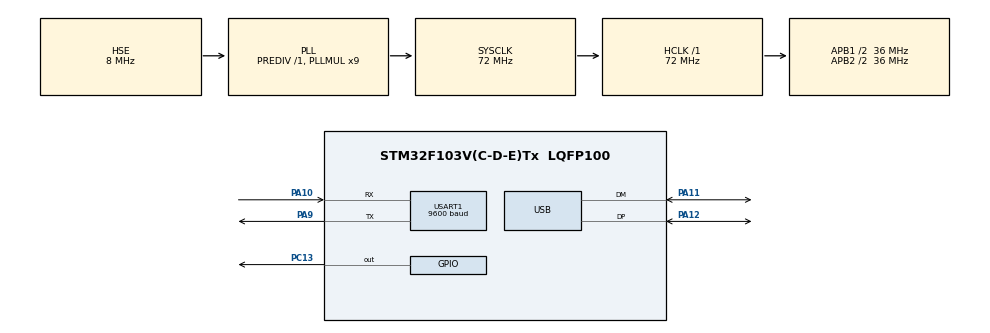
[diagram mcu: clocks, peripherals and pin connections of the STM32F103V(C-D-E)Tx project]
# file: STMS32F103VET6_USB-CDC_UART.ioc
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Mcu.Family=STM32F1
Mcu.Name=STM32F103V(C-D-E)Tx
Mcu.Package=LQFP100
NVIC.PriorityGroup=NVIC_PRIORITYGROUP_4
NVIC.USART1_IRQn=true\:0\:0\:false\:false\:true
NVIC.USB_LP_CAN1_RX0_IRQn=true\:0\:0\:false\:false\:true
OSC_IN.Mode=HSE-External-Oscillator
OSC_IN.Signal=RCC_OSC_IN
OSC_OUT.Mode=HSE-External-Oscillator
OSC_OUT.Signal=RCC_OSC_OUT
PA10.Mode=Asynchronous
PA10.Signal=USART1_RX
PA11.Mode=Device
PA11.Signal=USB_DM
PA12.Mode=Device
PA12.Signal=USB_DP
PA13.Mode=Serial_Wire
PA13.Signal=SYS_JTMS-SWDIO
PA14.Mode=Serial_Wire
PA14.Signal=SYS_JTCK-SWCLK
PA9.Mode=Asynchronous
PA9.Signal=USART1_TX
PC13-TAMPER-RTC.Signal=GPIO_Output
ProjectManager.HeapSize=0x200
ProjectManager.StackSize=0x400
ProjectManager.TargetToolchain=MDK-ARM V5
RCC.AHBFreq_Value=72000000
RCC.APB1CLKDivider=RCC_HCLK_DIV2
RCC.APB1Freq_Value=36000000
RCC.APB1TimFreq_Value=72000000
RCC.APB2CLKDivider=RCC_HCLK_DIV2
RCC.APB2Freq_Value=36000000
RCC.APB2TimFreq_Value=72000000
RCC.HCLKFreq_Value=72000000
RCC.HSIState=RCC_HSI_ON
RCC.PLLMUL=RCC_PLL_MUL9
RCC.RTCClockSelection=RCC_RTCCLKSOURCE_LSE
RCC.SYSCLKFreq_VALUE=72000000
RCC.SYSCLKSource=RCC_SYSCLKSOURCE_PLLCLK
RCC.USBFreq_Value=48000000
RCC.USBPrescaler=RCC_USBCLKSOURCE_PLL_DIV1_5
USART1.BaudRate=9600
USB.ep0_mps=DEP0CTL_MPS_64
USB_DEVICE.CLASS_NAME_FS=CDC
USB_DEVICE.MANUFACTURER_STRING=Elcetronic4U
USB_DEVICE.PID_CDC_FS=2510
USB_DEVICE.PRODUCT_STRING_CDC_FS=STM32 Virtual ComPort
USB_DEVICE.USBD_DEBUG_LEVEL=0
USB_DEVICE.USBD_HandleTypeDef=hUsbDeviceFS
USB_DEVICE.USBD_SUPPORT_USER_STRING=1
USB_DEVICE.VID=1706
USB_DEVICE.VirtualMode=Cdc
USB_DEVICE.VirtualModeFS=Cdc_FS
VP_USB_DEVICE_VS_USB_DEVICE_CDC_FS.Mode=CDC_FS
board=STMS32F103VET6_USB-CDC_UART

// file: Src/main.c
/**
  ******************************************************************************
  * File Name          : main.c
  * Description        : Main program body
  ******************************************************************************
  *
  * Copyright (c) 2016 STMicroelectronics International N.V.
  * All rights reserved.
  *
  * Redistribution and use in source and binary forms, with or without
  * modification, are permitted, provided that the following conditions are met:
  *
  * 1. Redistribution of source code must retain the above copyright notice,
  *    this list of conditions and the following disclaimer.
  * 2. Redistributions in binary form must reproduce the above copyright notice,
  *    this list of conditions and the following disclaimer in the documentation
  *    and/or other materials provided with the distribution.
  * 3. Neither the name of STMicroelectronics nor the names of other
  *    contributors to this software may be used to endorse or promote products
  *    derived from this software without specific written permission.
  * 4. This software, including modifications and/or derivative works of this
  *    software, must execute solely and exclusively on microcontroller or
  *    microprocessor devices manufactured by or for STMicroelectronics.
  * 5. Redistribution and use of this software other than as permitted under
  *    this license is void and will automatically terminate your rights under
  *    this license.
  *
  * THIS SOFTWARE IS PROVIDED BY STMICROELECTRONICS AND CONTRIBUTORS "AS IS"
  * AND ANY EXPRESS, IMPLIED OR STATUTORY WARRANTIES, INCLUDING, BUT NOT
  * LIMITED TO, THE IMPLIED WARRANTIES OF MERCHANTABILITY, FITNESS FOR A
  * PARTICULAR PURPOSE AND NON-INFRINGEMENT OF THIRD PARTY INTELLECTUAL PROPERTY
  * RIGHTS ARE DISCLAIMED TO THE FULLEST EXTENT PERMITTED BY LAW. IN NO EVENT
  * SHALL STMICROELECTRONICS OR CONTRIBUTORS BE LIABLE FOR ANY DIRECT, INDIRECT,
  * INCIDENTAL, SPECIAL, EXEMPLARY, OR CONSEQUENTIAL DAMAGES (INCLUDING, BUT NOT
  * LIMITED TO, PROCUREMENT OF SUBSTITUTE GOODS OR SERVICES; LOSS OF USE, DATA,
  * OR PROFITS; OR BUSINESS INTERRUPTION) HOWEVER CAUSED AND ON ANY THEORY OF
  * LIABILITY, WHETHER IN CONTRACT, STRICT LIABILITY, OR TORT (INCLUDING
  * NEGLIGENCE OR OTHERWISE) ARISING IN ANY WAY OUT OF THE USE OF THIS SOFTWARE,
  * EVEN IF ADVISED OF THE POSSIBILITY OF SUCH DAMAGE.
  *
  ******************************************************************************
  */
#include "main.h"
#include "stm32f1xx_hal.h"
#include "usb_device.h"

/* USER CODE BEGIN Includes */
#include "usbd_cdc_if.h"
#include "string.h"
/* USER CODE END Includes */

UART_HandleTypeDef huart1;

/* USER CODE BEGIN PV */
/* Private variables ---------------------------------------------------------*/

/* USER CODE END PV */

void SystemClock_Config(void);
void Error_Handler(void);
static void MX_GPIO_Init(void);
static void MX_USART1_UART_Init(void);

/* USER CODE BEGIN PFP */
/* Private function prototypes -----------------------------------------------*/

/* USER CODE END PFP */

/* USER CODE BEGIN 0 */
uint8_t RX_Data[64],USB_Buffer[64], RX_Buffer[64], RX_Index=0,RX_Size, mystring[]="Electronic4U \r";

void Sent_Via_USB(uint8_t Data);

void Sent_Via_USB(uint8_t Data)
{
	uint8_t Sen_Data[1];
	sprintf((char *)Sen_Data,"%d",Data);
	CDC_Transmit_FS(Sen_Data, strlen((const char*)Sen_Data));
}
void HAL_UART_RxCpltCallback(UART_HandleTypeDef *huart)
{
	if(huart->Instance == huart1.Instance)
	{
		if (RX_Buffer[0] != 10)
			{
				RX_Data[RX_Index++] = RX_Buffer[0];
			}
		if (RX_Buffer[0] == 10)
			{
				RX_Index=0;
			}
	HAL_UART_Receive_IT(&huart1, (uint8_t *)RX_Buffer, 1);
	}
}
/* USER CODE END 0 */

int main(void)
{

  /* MCU Configuration----------------------------------------------------------*/

  /* Reset of all peripherals, Initializes the Flash interface and the Systick. */
  HAL_Init();

  /* Configure the system clock */
  SystemClock_Config();

  /* Initialize all configured peripherals */
  MX_GPIO_Init();
  MX_USB_DEVICE_Init();
  MX_USART1_UART_Init();

  /* USER CODE BEGIN 2 */
	HAL_UART_Receive_IT(&huart1, (uint8_t *)RX_Buffer, 1);

  /* USER CODE END 2 */

  /* Infinite loop */
  while (1)
  {

  /* USER CODE BEGIN 3 */
		//CDC_Transmit_FS(mystring, strlen((const char*)mystring));
		//Sent_Via_USB();
		sprintf((char *)USB_Buffer, "%s", RX_Data);
		CDC_Transmit_FS(USB_Buffer, strlen((const char*)USB_Buffer));
		HAL_GPIO_TogglePin(GPIOC, GPIO_PIN_13);
		HAL_Delay(500);

  }
  /* USER CODE END 3 */

}

/** System Clock Configuration
*/
void SystemClock_Config(void)
{

  RCC_OscInitTypeDef RCC_OscInitStruct;
  RCC_ClkInitTypeDef RCC_ClkInitStruct;
  RCC_PeriphCLKInitTypeDef PeriphClkInit;

    /**Initializes the CPU, AHB and APB busses clocks
    */
  RCC_OscInitStruct.OscillatorType = RCC_OSCILLATORTYPE_HSE;
  RCC_OscInitStruct.HSEState = RCC_HSE_ON;
  RCC_OscInitStruct.HSEPredivValue = RCC_HSE_PREDIV_DIV1;
  RCC_OscInitStruct.HSIState = RCC_HSI_ON;
  RCC_OscInitStruct.PLL.PLLState = RCC_PLL_ON;
  RCC_OscInitStruct.PLL.PLLSource = RCC_PLLSOURCE_HSE;
  RCC_OscInitStruct.PLL.PLLMUL = RCC_PLL_MUL9;
  if (HAL_RCC_OscConfig(&RCC_OscInitStruct) != HAL_OK)
  {
    Error_Handler();
  }

    /**Initializes the CPU, AHB and APB busses clocks
    */
  RCC_ClkInitStruct.ClockType = RCC_CLOCKTYPE_HCLK|RCC_CLOCKTYPE_SYSCLK
                              |RCC_CLOCKTYPE_PCLK1|RCC_CLOCKTYPE_PCLK2;
  RCC_ClkInitStruct.SYSCLKSource = RCC_SYSCLKSOURCE_PLLCLK;
  RCC_ClkInitStruct.AHBCLKDivider = RCC_SYSCLK_DIV1;
  RCC_ClkInitStruct.APB1CLKDivider = RCC_HCLK_DIV2;
  RCC_ClkInitStruct.APB2CLKDivider = RCC_HCLK_DIV2;

  if (HAL_RCC_ClockConfig(&RCC_ClkInitStruct, FLASH_LATENCY_2) != HAL_OK)
  {
    Error_Handler();
  }

  PeriphClkInit.PeriphClockSelection = RCC_PERIPHCLK_USB;
  PeriphClkInit.UsbClockSelection = RCC_USBCLKSOURCE_PLL_DIV1_5;
  if (HAL_RCCEx_PeriphCLKConfig(&PeriphClkInit) != HAL_OK)
  {
    Error_Handler();
  }

    /**Configure the Systick interrupt time
    */
  HAL_SYSTICK_Config(HAL_RCC_GetHCLKFreq()/1000);

    /**Configure the Systick
    */
  HAL_SYSTICK_CLKSourceConfig(SYSTICK_CLKSOURCE_HCLK);

  /* SysTick_IRQn interrupt configuration */
  HAL_NVIC_SetPriority(SysTick_IRQn, 0, 0);
}

/* USART1 init function */
static void MX_USART1_UART_Init(void)
{

  huart1.Instance = USART1;
  huart1.Init.BaudRate = 9600;
  huart1.Init.WordLength = UART_WORDLENGTH_8B;
  huart1.Init.StopBits = UART_STOPBITS_1;
  huart1.Init.Parity = UART_PARITY_NONE;
  huart1.Init.Mode = UART_MODE_TX_RX;
  huart1.Init.HwFlowCtl = UART_HWCONTROL_NONE;
  huart1.Init.OverSampling = UART_OVERSAMPLING_16;
  if (HAL_UART_Init(&huart1) != HAL_OK)
  {
    Error_Handler();
  }

}

/** Configure pins as
        * Analog
        * Input
        * Output
        * EVENT_OUT
        * EXTI
*/
static void MX_GPIO_Init(void)
{

  GPIO_InitTypeDef GPIO_InitStruct;

  /* GPIO Ports Clock Enable */
  __HAL_RCC_GPIOC_CLK_ENABLE();
  __HAL_RCC_GPIOA_CLK_ENABLE();

  /*Configure GPIO pin Output Level */
  HAL_GPIO_WritePin(GPIOC, GPIO_PIN_13, GPIO_PIN_RESET);

  /*Configure GPIO pin : PC13 */
  GPIO_InitStruct.Pin = GPIO_PIN_13;
  GPIO_InitStruct.Mode = GPIO_MODE_OUTPUT_PP;
  GPIO_InitStruct.Speed = GPIO_SPEED_FREQ_LOW;
  HAL_GPIO_Init(GPIOC, &GPIO_InitStruct);

}

void Error_Handler(void)
{
  while(1)
  {
  }
}

/************************ (C) COPYRIGHT STMicroelectronics *****END OF FILE****/
